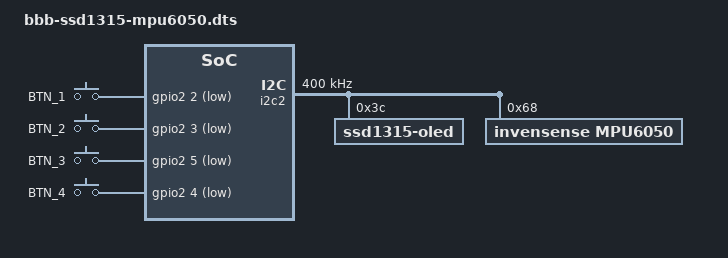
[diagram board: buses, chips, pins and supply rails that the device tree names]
/dts-v1/;
/plugin/;

/*
 * Device Tree Overlay — SSD1315 OLED + MPU6050 IMU + 4 GPIO buttons
 * BeagleBone Black
 *
 * I2C2 devices (P9.19=SCL, P9.20=SDA):
 *   0x3C — SSD1315 OLED display
 *   0x68 — MPU6050 IMU (AD0 pin = GND)
 *
 * GPIO buttons (P8 header, active-low with internal pull-up):
 *   BTN_1 — P8.7  (GPIO2_2  = gpio 66)
 *   BTN_2 — P8.8  (GPIO2_3  = gpio 67)
 *   BTN_3 — P8.9  (GPIO2_5  = gpio 69)  [note: numbering skips 68]
 *   BTN_4 — P8.10 (GPIO2_4  = gpio 68)
 *
 * Wiring:
 *   Each button: one pin → P8.XX, other pin → GND (P8.1 or P8.2)
 *   Pull-up is enabled in the DTS, so unpressed = HIGH, pressed = LOW.
 */

&i2c2 {
    status = "okay";
    clock-frequency = <400000>;    /* 400 kHz Fast-mode */

    /* ---------------------------------------------------------------
     * SSD1315 OLED display
     * Driver: ssd1315_oled.ko (out-of-tree)
     * Device node: /dev/ssd1315
     * --------------------------------------------------------------- */
    ssd1315: oled@3c {
        compatible = "ssd1315-oled", "solomon,ssd1315";
        reg = <0x3c>;
        label = "ssd1315-oled";
    };

    /* ---------------------------------------------------------------
     * MPU6050 6-DOF IMU (3-axis accel + 3-axis gyro)
     * Driver: inv_mpu6050_i2c (in-tree, IIO subsystem)
     * Data: /sys/bus/iio/devices/iio:device0/in_accel_x_raw etc.
     * --------------------------------------------------------------- */
    mpu6050: imu@68 {
        compatible = "invensense,mpu6050";
        reg = <0x68>;
        /*
         * interrupt-parent and interrupts can be added here if the
         * INT pin of MPU6050 is wired to a BBB GPIO (optional).
         * Without it the driver falls back to polling mode.
         */
    };
};

/* ---------------------------------------------------------------
 * 4 GPIO push-buttons via gpio-keys driver
 * Exposed as /dev/input/eventX — read with standard Linux input API
 * Key codes: BTN_0..BTN_3 (evdev codes 256..259)
 * --------------------------------------------------------------- */
/ {
    gpio_buttons: gpio-buttons {
        compatible = "gpio-keys";
        #address-cells = <1>;
        #size-cells = <0>;
        label = "BBB GPIO Buttons";

        button@0 {
            label = "BTN_1";
            linux,code = <256>;        /* BTN_0 */
            gpios = <&gpio2 2 1>;      /* GPIO2_2 = P8.7, active-low (1) */
            debounce-interval = <20>;  /* 20ms hardware debounce */
        };

        button@1 {
            label = "BTN_2";
            linux,code = <257>;        /* BTN_1 */
            gpios = <&gpio2 3 1>;      /* GPIO2_3 = P8.8, active-low */
            debounce-interval = <20>;
        };

        button@2 {
            label = "BTN_3";
            linux,code = <258>;        /* BTN_2 */
            gpios = <&gpio2 5 1>;      /* GPIO2_5 = P8.9, active-low */
            debounce-interval = <20>;
        };

        button@3 {
            label = "BTN_4";
            linux,code = <259>;        /* BTN_3 */
            gpios = <&gpio2 4 1>;      /* GPIO2_4 = P8.10, active-low */
            debounce-interval = <20>;
        };
    };
};
